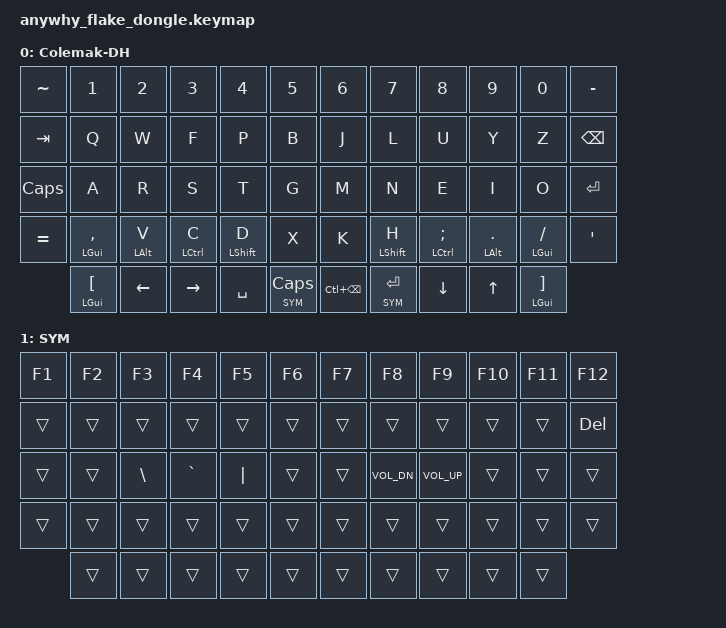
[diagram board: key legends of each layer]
/*
 * Anywhy Flake L — Colemak-DH keymap
 *
 * Hardware: Flake L (58-key), XIAO BLE, split wireless
 * Layout: Standard Colemak-DH, single layer, no home-row mods, no combos
 *
 * Large layout matrix (large_transform):
 *   Row 0: cols 0-11  (12 keys — number row with outer modifier keys)
 *   Row 1: cols 0-11  (12 keys — top alpha row)
 *   Row 2: cols 0-11  (12 keys — home alpha row)
 *   Row 3: cols 0-11  (12 keys — bottom alpha row)
 *   Row 4: cols 1-10  (10 keys — thumb cluster)
 *
 * Colemak-DH alpha block (cols 1-10 of rows 1-3):
 *   Q W F P B   J L U Y ;
 *   A R S T G   M N E I O
 *   Z X C D V   K H , . /
 *
 * Outer columns (col 0 and col 11) carry modifier/utility keys.
 * Thumbs carry Cmd/Alt/Ctrl/Space on left, Shift/Cmd/Alt/Ctrl on right.
 */

#include <behaviors.dtsi>
#include <dt-bindings/zmk/keys.h>
#include <dt-bindings/zmk/bt.h>

#define BASE 0
#define SYM   1

/ {
    behaviors {
        /*
         * Custom mod-tap: "tap-preferred" flavor with 200 ms tapping term.
         *
         * Equivalent to Vial's "Ignore Mod Tap Interrupt" + 200 ms tapping term:
         * - A key pressed while this key is held does NOT immediately trigger the
         *   hold (modifier) action — the mod only fires if the key is still held
         *   after the full tapping-term-ms window expires.
         * - This prevents fast typists from accidentally firing Ctrl/Shift/Alt/GUI
         *   when rolling quickly through the bottom-row mod-tap keys.
         */
        mt: mod_tap {
            compatible = "zmk,behavior-hold-tap";
            #binding-cells = <2>;
            flavor = "tap-preferred";
            tapping-term-ms = <200>;
            bindings = <&kp>, <&kp>;
        };
    };

    keymap {
        compatible = "zmk,keymap";

        base {
            display-name = "Colemak-DH";
            /*
             * 58 bindings in large_transform order:
             *
             * Row 0 (12):  ESC  1  2  3  4  5   |   6  7  8  9  0  MINUS
             * Row 1 (12):  ENTER Q  W  F  P  B   |   J  L  U  Y  ;  BSPC
             * Row 2 (12):  TAB  A  R  S  T  G   |   M  N  E  I  O  APOS
             * Row 3 (12):  LBKT Z  X  C  D  V   |   K  H  ,  .  /  RBKT
             * Thumb (10):     LGUI LALT LCTRL SPACE BSPC   DEL RSHFT RALT RCTRL RGUI
             */
            bindings = <
&kp TILDE    &kp N1    &kp N2    &kp N3     &kp N4    &kp N5        &kp N6    &kp N7    &kp N8     &kp N9    &kp N0    &kp MINUS
&kp TAB  &kp Q     &kp W     &kp F      &kp P     &kp B         &kp J     &kp L     &kp U      &kp Y     &kp Z  &kp BSPC
&kp CAPSLOCK    &kp A     &kp R     &kp S      &kp T     &kp G         &kp M     &kp N     &kp E      &kp I     &kp O     &kp ENTER
&kp EQUAL   &mt LGUI COMMA   &mt LALT V     &mt LCTRL C     &mt LSHIFT D     &kp X         &kp K     &mt LSHIFT H     &mt LCTRL SEMI  &mt LALT DOT   &mt LGUI FSLH  &kp APOS
           &mt LGUI LBKT  &kp LEFT  &kp RIGHT  &kp SPACE &lt SYM CAPSLOCK      &kp LC(BSPC)   &lt SYM ENTER &kp DOWN   &kp UP &mt LGUI RBKT
            >;
        };
                sym {
            display-name = "SYM";

            bindings = <
&kp F1 &kp F2 &kp F3 &kp F4 &kp F5 &kp F6 &kp F7 &kp F8 &kp F9 &kp F10 &kp F11 &kp F12
&trans       &trans &trans &trans &trans &trans        &trans &trans &trans &trans &trans &kp DEL
&trans       &trans &kp BSLH &kp GRAVE &kp PIPE &trans        &trans &kp C_VOL_DN &kp C_VOL_UP &trans &trans &trans
&trans       &trans &trans &trans &trans &trans        &trans &trans &trans &trans &trans &trans
             &trans &trans &trans &trans &trans        &trans &trans &trans &trans &trans
            >;
        };
    };
};
